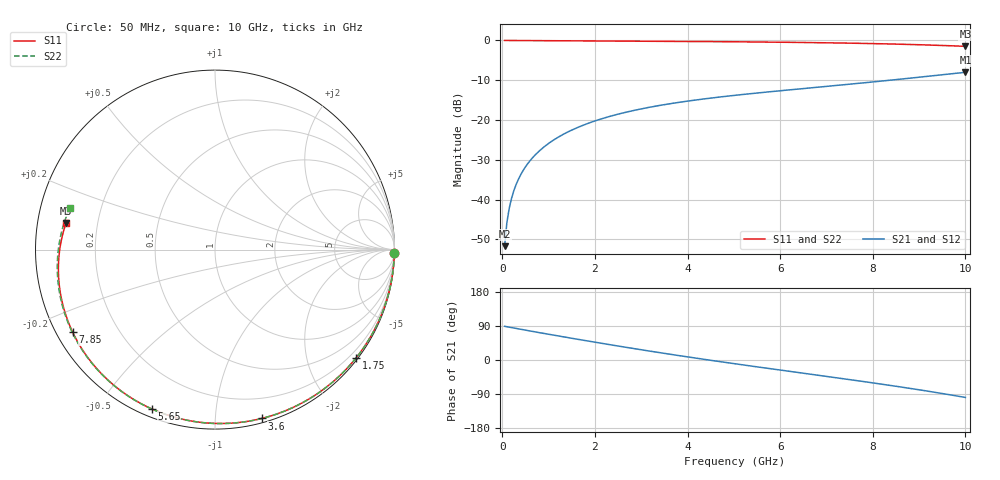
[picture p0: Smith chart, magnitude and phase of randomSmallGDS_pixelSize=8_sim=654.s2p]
! freq	dB(S11)	phase(S11)	dB(S12)	phase(S12)
!  dB(S21)	phase(S21)	dB(S22)	phase(S22)
!S-par simulation data
#  GHz  S  DB  R 50
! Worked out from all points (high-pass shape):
!   200 points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, 50 MHz to 10 GHz, reference 50 ohm
!   highest |S21| = -8.01 dB at 10 GHz (marker M1); lowest = -51.7 dB at 50 MHz (marker M2)
!   |S21| within 3 dB of the highest: 7.49 GHz to end of sweep
!   lowest |S11| = -1.5 dB at 10 GHz (marker M3), VSWR 11.72, Z = 4.3 + j4.41 ohm
!   |S11| at or under -10 dB: nowhere
!   |S22| runs from -1.5 to 0.0 dB; largest |S21 - S12| = 0
!   S11 on the Smith chart (normalised r, x): 50 MHz: open; 1.75 GHz: 0.04, -2.94; 3.6 GHz: 0.03, -1.32; 5.65 GHz: 0.03, -0.68; 7.85 GHz: 0.05, -0.27; 10 GHz: 0.09, +0.09
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0.05  -0.00 -1.1  -51.68 88.9  -51.68 88.9  -0.00 -1.1
0.1  -0.01 -2.2  -45.67 87.7  -45.67 87.7  -0.01 -2.2
0.15  -0.01 -3.3  -42.15 86.6  -42.15 86.6  -0.01 -3.3
0.2  -0.01 -4.4  -39.66 85.5  -39.66 85.5  -0.01 -4.4
0.25  -0.01 -5.5  -37.73 84.4  -37.73 84.4  -0.01 -5.5
0.35  -0.01 -7.6  -34.82 82.1  -34.82 82.1  -0.01 -7.7
0.5  -0.02 -10.9  -31.76 78.8  -31.76 78.8  -0.02 -11.0
0.7  -0.02 -15.2  -28.89 74.4  -28.89 74.4  -0.02 -15.3
1  -0.04 -21.7  -25.87 67.9  -25.87 67.9  -0.04 -21.8
1.35  -0.06 -29.1  -23.38 60.5  -23.38 60.5  -0.06 -29.3
1.75  -0.08 -37.5  -21.28 52.1  -21.28 52.1  -0.08 -37.8
2.6  -0.13 -54.9  -18.23 34.9  -18.23 34.9  -0.14 -55.3
3.4  -0.19 -70.6  -16.32 19.4  -16.32 19.4  -0.19 -71.2
3.6  -0.21 -74.4  -15.94 15.6  -15.94 15.6  -0.21 -75.1
4.3  -0.27 -87.5  -14.77 2.8  -14.77 2.8  -0.27 -88.4
5.05  -0.34 -101.1  -13.75 -10.4  -13.75 -10.4  -0.34 -102.2
5.65  -0.40 -111.7  -13.03 -20.6  -13.03 -20.6  -0.41 -113.0
6.7  -0.54 -129.9  -11.87 -38.2  -11.87 -38.2  -0.55 -131.8
7.85  -0.75 -149.9  -10.60 -57.7  -10.60 -57.7  -0.76 -152.7
8.35  -0.88 -158.8  -10.02 -66.6  -10.02 -66.6  -0.89 -162.1
9.2  -1.15 -174.4  -8.99 -82.5  -8.99 -82.5  -1.16 -178.9
10  -1.49 169.8  -8.01 -98.8  -8.01 -98.8  -1.50 163.8
